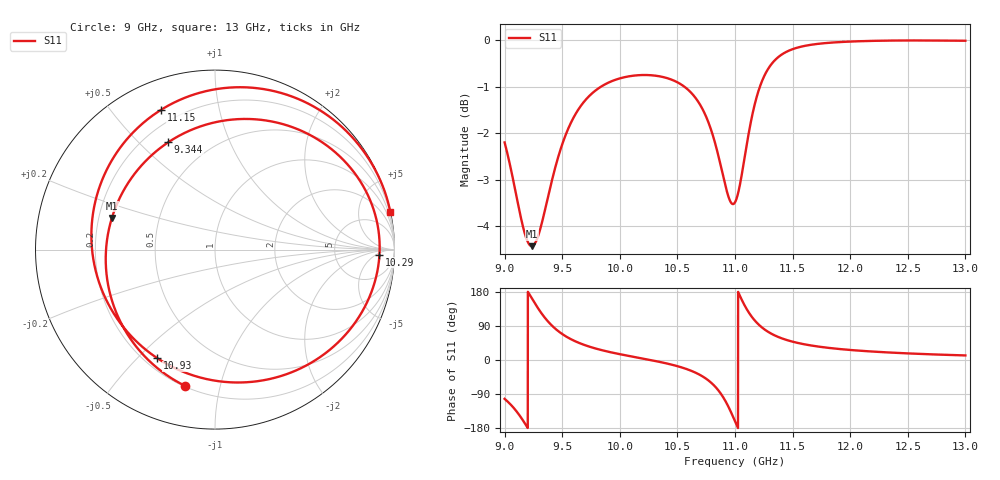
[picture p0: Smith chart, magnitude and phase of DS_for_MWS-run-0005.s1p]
! TOUCHSTONE file generated by CST DESIGN STUDIO
! Date and time: Tue Feb  4 14:35:46 2025
! Project name: C:\Work\MatlabApps\UnitCellOptimizationMatlab\CST\unitcell.cst
! Tree item: Tasks\Sweep1\SPara1\S-Parameters
! Header version: 2024
! Port assignment regex: !\s*Touchstone port\s*([0-9]+)\s*=\s*(CST MWS port|CST DES external port|CST DES block port)\s*(.+)\s* \(\"(.*)\"\)(\s*mode\s*([0-9]+))?.*
! Touchstone port assignment:
! Touchstone port 1 = CST DES external port 1 ("")
# GHz S MA R 50
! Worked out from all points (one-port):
!   4001 points, 9 GHz to 13 GHz, reference 50 ohm
!   lowest |S11| = -4.4 dB at 9.236 GHz (marker M1), VSWR 4.01, Z = 12.7 + j7.04 ohm
!   |S11| at or under -10 dB: nowhere
!   S11 on the Smith chart (normalised r, x): 9 GHz: 0.20, -0.78; 9.344 GHz: 0.30, +0.61; 10.29 GHz: 21, -7; 10.93 GHz: 0.25, -0.57; 11.15 GHz: 0.13, +0.68; 13 GHz: 0.05, +9.49
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9  0.7768 -102.5
9.068  0.7142 -122.6
9.141  0.6452 -151.1
9.236  0.601 162.9
9.344  0.6521 113.6
9.415  0.7105 89.5
9.5  0.7731 68.6
9.597  0.8254 51.7
9.707  0.8641 38.1
10  0.9101 15.4
10.293  0.9168 -1.7
10.5  0.9014 -16.3
10.642  0.872 -31.3
10.75  0.8275 -49.6
10.86  0.7478 -81.8
10.934  0.685 -118.0
11  0.6698 -161.5
11.033  0.6903 175.7
11.066  0.7261 154.3
11.11  0.783 130.1
11.153  0.8346 111.1
11.219  0.8937 89.7
11.309  0.9402 70.5
11.5  0.9784 48.3
11.703  0.9907 36.3
12  0.9969 26.5
12.5  0.9997 17.4
13  0.9989 12.0
